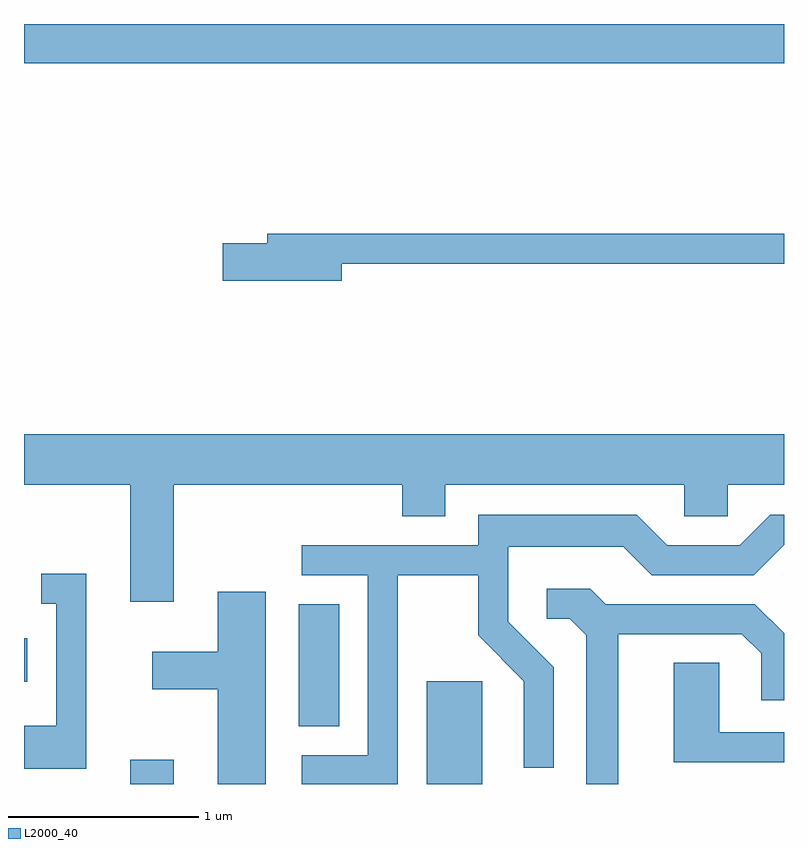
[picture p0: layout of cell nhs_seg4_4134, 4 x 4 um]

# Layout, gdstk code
import gdstk
lib = gdstk.Library(unit=1e-6, precision=1e-09)
def R(c, l, rs):  # rectangles x0, y0, x1, y1
    for r in rs: c.add(gdstk.rectangle(r[:2], r[2:], *l))
def P(c, l, *ps):  # polygons
    for p in ps: c.add(gdstk.Polygon(p, *l))
L2000_40 = (2000, 40)

nhs_seg4_4134 = lib.new_cell('nhs_seg4_4134')
R(nhs_seg4_4134, L2000_40, [(306.171,1361.982,306.399,1362.109), (307.731,1361.982,308.024,1362.524), (307.056,1362.286,307.269,1362.929), (305.611,1362.521,305.629,1362.749), (305.611,1365.776,309.611,1365.982)])
P(nhs_seg4_4134, L2000_40, [(307.284,1364.721),(309.611,1364.721),(309.611,1364.879),(306.891,1364.879),(306.891,1364.829),(306.656,1364.829),(306.656,1364.631),(307.284,1364.631)],
  [(306.399,1363.556),(307.601,1363.556),(307.601,1363.391),(307.829,1363.391),(307.829,1363.556),(309.086,1363.556),(309.086,1363.391),(309.314,1363.391),(309.314,1363.556),(309.611,1363.556),(309.611,1363.824),(305.611,1363.824),(305.611,1363.556),(306.171,1363.556),(306.171,1362.941),(306.399,1362.941)],
  [(307.579,1363.081),(308.001,1363.081),(308.001,1362.764),(308.241,1362.524),(308.241,1362.068),(308.399,1362.068),(308.399,1362.597),(308.159,1362.837),(308.159,1363.231),(308.764,1363.231),(308.914,1363.081),(309.452,1363.081),(309.611,1363.24),(309.611,1363.399),(309.539,1363.399),(309.379,1363.239),(308.997,1363.239),(308.837,1363.399),(308.001,1363.399),(308.001,1363.239),(307.073,1363.239),(307.073,1363.081),(307.421,1363.081),(307.421,1362.134),(307.073,1362.134),(307.073,1361.982),(307.579,1361.982)],
  [(305.939,1363.089),(305.703,1363.089),(305.703,1362.931),(305.781,1362.931),(305.781,1362.289),(305.611,1362.289),(305.611,1362.061),(305.939,1362.061)],
  [(308.739,1362.771),(309.389,1362.771),(309.491,1362.669),(309.491,1362.423),(309.611,1362.423),(309.611,1362.775),(309.457,1362.929),(308.672,1362.929),(308.592,1363.009),(308.363,1363.009),(308.363,1362.851),(308.484,1362.851),(308.571,1362.764),(308.571,1361.982),(308.739,1361.982)],
  [(306.884,1362.994),(306.631,1362.994),(306.631,1362.679),(306.286,1362.679),(306.286,1362.481),(306.631,1362.481),(306.631,1361.982),(306.884,1361.982)],
  [(309.611,1362.254),(309.269,1362.254),(309.269,1362.619),(309.031,1362.619),(309.031,1362.096),(309.611,1362.096)])

lib.write_gds('nhs_seg4_4134.gds')
